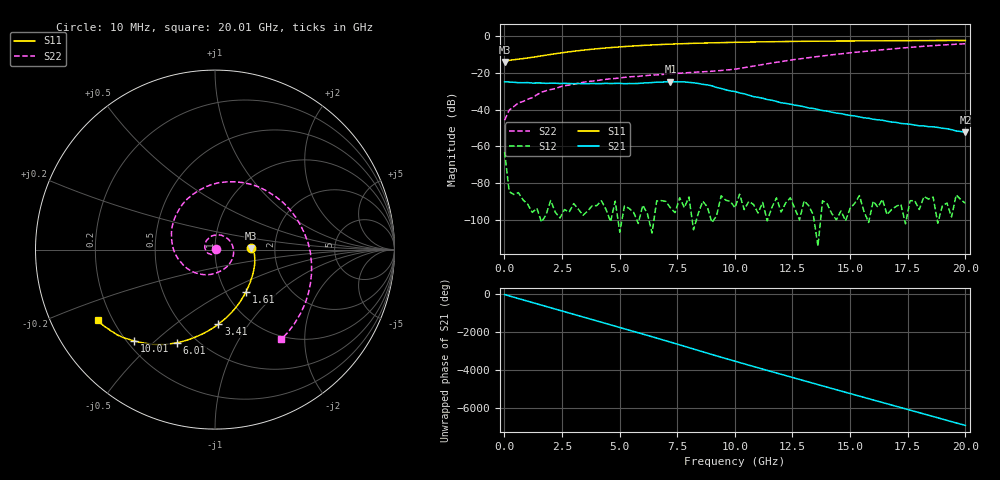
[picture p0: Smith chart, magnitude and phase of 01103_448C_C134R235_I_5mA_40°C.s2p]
!;Filter: kein Filter
!auto
!3/21/2019 9:27:39 AM
!3/21/2019 9:27:53 AM
!SP-Measurements Prober G4
!SP-Measurements Prober G4
!01103_448C
!134
!235
!12
!40
!-20
!0.00499992
!1.96
!0.64375220
!0.64375220
# Hz S  RI  R 50
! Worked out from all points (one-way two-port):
!   101 points, 10 MHz to 20.01 GHz, reference 50 ohm
!   highest |S21| = -24.77 dB at 7.21 GHz (marker M1); lowest = -52.2 dB at 20.01 GHz (marker M2)
!   lowest |S11| = -14.1 dB at 10 MHz (marker M3), VSWR 1.49, Z = 74.6 + j1.16 ohm
!   |S11| at or under -10 dB: start of sweep to 1.977 GHz
!   |S22| runs from -45.7 to -4.1 dB; largest |S21 - S12| = 0.058
!   S11 on the Smith chart (normalised r, x): 10 MHz: 1.49, +0.02; 1.61 GHz: 1.24, -0.63; 3.41 GHz: 0.73, -0.73; 6.01 GHz: 0.39, -0.60; 10.01 GHz: 0.23, -0.43; 20.01 GHz: 0.15, -0.27
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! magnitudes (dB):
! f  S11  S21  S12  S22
! 10 MHz  -14.1  -24.8  -63.0  -45.7
! 210 MHz  -13.1  -24.9  -84.6  -40.2
! 610 MHz  -12.5  -25.3  -85.1  -36.3
! 1.21 GHz  -11.5  -25.5  -95.9  -33.5
! 1.61 GHz  -10.7  -25.5  -101.1  -30.5
! 2.61 GHz  -8.8  -25.7  -94.3  -26.9
! 3.41 GHz  -7.6  -25.8  -97.4  -25.1
! 6.01 GHz  -5.0  -25.5  -91.9  -21.6
! 6.81 GHz  -4.5  -25.0  -89.5  -20.9
! 7.21 GHz  -4.3  -24.8  -93.5  -20.5
! 7.81 GHz  -4.1  -24.9  -93.3  -20.0
! 8.41 GHz  -3.8  -25.7  -96.6  -19.5
! 9.01 GHz  -3.6  -27.0  -101.4  -19.1
! 9.61 GHz  -3.5  -29.2  -89.3  -18.5
! 10.01 GHz  -3.3  -30.1  -93.4  -17.9
! 10.81 GHz  -3.2  -32.9  -91.5  -16.3
! 12.01 GHz  -2.9  -36.2  -95.7  -13.9
! 13.41 GHz  -2.8  -39.3  -97.3  -11.4
! 14.41 GHz  -2.7  -41.8  -99.9  -9.9
! 16.81 GHz  -2.5  -46.7  -94.3  -7.0
! 18.81 GHz  -2.4  -49.6  -101.8  -5.0
! 20.01 GHz  -2.4  -52.2  -90.9  -4.1
